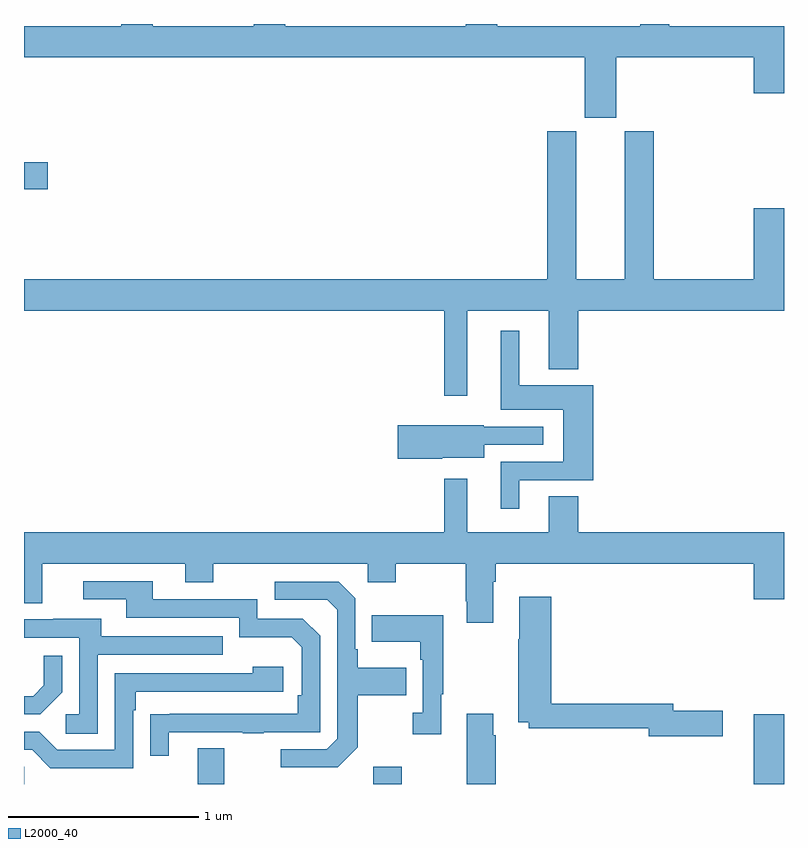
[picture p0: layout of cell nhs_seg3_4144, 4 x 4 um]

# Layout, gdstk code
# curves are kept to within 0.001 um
import gdstk
lib = gdstk.Library(unit=1e-6, precision=1e-09)
def R(c, l, rs):  # rectangles x0, y0, x1, y1
    for r in rs: c.add(gdstk.rectangle(r[:2], r[2:], *l))
def P(c, l, *ps):  # polygons
    for p in ps: c.add(gdstk.Polygon(p, *l))
L2000_40 = (2000, 40)

nhs_seg3_4144 = lib.new_cell('nhs_seg3_4144')
R(nhs_seg3_4144, L2000_40, [(329,722.4,329.001,722.49), (329.915,722.4,330.055,722.587), (330.839,722.4,330.987,722.491), (332.84,722.4,333,722.767), (329,725.53,329.125,725.672)])
P(nhs_seg3_4144, L2000_40, [(332.116,726.224),(332.84,726.224),(332.84,726.036),(333,726.036),(333,726.388),(332.395,726.388),(332.395,726.4),(332.243,726.4),(332.243,726.388),(331.49,726.388),(331.49,726.4),(331.325,726.4),(331.325,726.388),(330.374,726.388),(330.374,726.4),(330.209,726.4),(330.209,726.388),(329.678,726.388),(329.678,726.4),(329.513,726.4),(329.513,726.388),(329,726.388),(329,726.224),(331.952,726.224),(331.952,725.907),(332.116,725.907)],
  [(331.333,724.892),(331.763,724.892),(331.763,724.583),(331.916,724.583),(331.916,724.892),(333,724.892),(333,725.431),(332.84,725.431),(332.84,725.056),(332.315,725.056),(332.315,725.835),(332.162,725.835),(332.162,725.056),(331.906,725.056),(331.906,725.835),(331.754,725.835),(331.754,725.056),(329,725.056),(329,724.892),(331.212,724.892),(331.212,724.443),(331.333,724.443)],
  [(331.606,723.999),(331.997,723.999),(331.997,724.498),(331.606,724.498),(331.606,724.786),(331.508,724.786),(331.508,724.37),(331.838,724.37),(331.838,724.095),(331.508,724.095),(331.508,723.849),(331.606,723.849)],
  [(331.2,724.118),(331.423,724.118),(331.423,724.185),(331.732,724.185),(331.732,724.281),(331.419,724.281),(331.419,724.289),(330.966,724.289),(330.966,724.111),(331.2,724.111)],
  [(331.471,723.464),(331.484,723.464),(331.484,723.56),(332.84,723.56),(332.84,723.372),(333,723.372),(333,723.724),(331.916,723.724),(331.916,723.914),(331.763,723.914),(331.763,723.724),(331.333,723.724),(331.333,724.006),(331.212,724.006),(331.212,723.724),(329,723.724),(329,723.352),(329.095,723.352),(329.095,723.56),(329.849,723.56),(329.849,723.461),(329.997,723.461),(329.997,723.56),(330.81,723.56),(330.81,723.461),(330.957,723.461),(330.957,723.56),(331.324,723.56),(331.324,723.361),(331.331,723.361),(331.331,723.249),(331.471,723.249)],
  [(329.761,722.673),(330.151,722.673),(330.151,722.668),(330.263,722.668),(330.263,722.673),(330.558,722.673),(330.558,723.18),(330.468,723.27),(330.228,723.27),(330.228,723.372),(329.677,723.372),(329.677,723.468),(329.313,723.468),(329.313,723.372),(329.537,723.372),(329.537,723.276),(330.132,723.276),(330.132,723.173),(330.409,723.173),(330.462,723.12),(330.462,722.866),(330.442,722.866),(330.442,722.769),(329.665,722.768),(329.665,722.55),(329.761,722.55)],
  [(330.757,722.593),(330.757,722.866),(331.013,722.866),(331.013,723.013),(330.757,723.013),(330.757,723.109),(330.744,723.109),(330.744,723.378),(330.657,723.465),(330.321,723.465),(330.321,723.369),(330.597,723.369),(330.648,723.318),(330.648,722.637),(330.594,722.583),(330.351,722.583),(330.351,722.487),(330.651,722.487)],
  [(332.677,722.786),(332.416,722.786),(332.416,722.822),(331.775,722.822),(331.775,723.385),(331.607,723.385),(331.607,723.161),(331.6,723.161),(331.6,722.726),(331.656,722.726),(331.656,722.694),(332.288,722.694),(332.288,722.651),(332.677,722.651)],
  [(331.195,722.873),(331.207,722.873),(331.207,723.289),(330.829,723.289),(330.829,723.149),(331.086,723.149),(331.086,723.053),(331.098,723.053),(331.098,722.774),(331.047,722.774),(331.047,722.661),(331.195,722.661)],
  [(329.388,723.081),(330.047,723.081),(330.047,723.177),(329.407,723.177),(329.407,723.271),(329.153,723.271),(329.153,723.267),(329,723.267),(329,723.171),(329.292,723.171),(329.292,722.766),(329.22,722.766),(329.22,722.665),(329.388,722.665)],
  [(329.202,722.882),(329.202,723.076),(329.105,723.076),(329.105,722.919),(329.048,722.862),(329,722.862),(329,722.766),(329.086,722.766)],
  [(329.574,722.789),(329.587,722.789),(329.587,722.886),(330.364,722.886),(330.364,723.016),(330.203,723.016),(330.203,722.982),(329.478,722.982),(329.478,722.58),(329.175,722.58),(329.079,722.676),(329,722.676),(329,722.58),(329.043,722.58),(329.139,722.484),(329.574,722.484)],
  [(331.484,722.657),(331.471,722.657),(331.471,722.77),(331.331,722.77),(331.331,722.4),(331.484,722.4)])

lib.write_gds('nhs_seg3_4144.gds')
